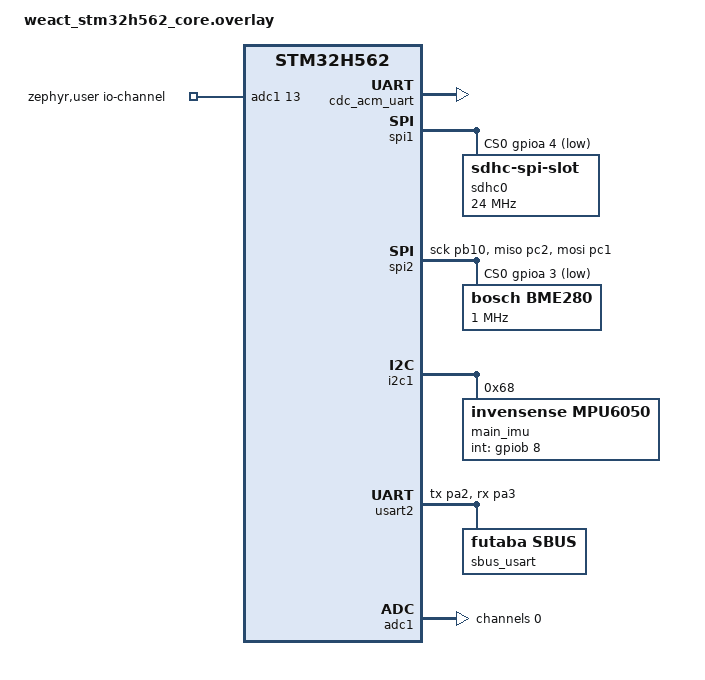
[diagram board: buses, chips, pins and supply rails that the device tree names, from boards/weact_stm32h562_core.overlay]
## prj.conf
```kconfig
# 
# This file is part of the efc project <https://github.com/eurus-project/efc/>.
# Copyright (c) 2024 The efc developers.
# 
# This program is free software: you can redistribute it and/or modify
# it under the terms of the GNU General Public License as published by
# the Free Software Foundation, version 3.
# 
# This program is distributed in the hope that it will be useful, but
# WITHOUT ANY WARRANTY; without even the implied warranty of
# MERCHANTABILITY or FITNESS FOR A PARTICULAR PURPOSE. See the GNU
# General Public License for more details.
# 
# You should have received a copy of the GNU General Public License
# along with this program. If not, see <http://www.gnu.org/licenses/>.
#

CONFIG_GPIO=y
CONFIG_SERIAL=y
CONFIG_CONSOLE=y
CONFIG_USB_DEVICE_STACK=y
CONFIG_ADC=y
CONFIG_DEBUG=y
CONFIG_STM32_FLASH_PREFETCH=y
CONFIG_FPU=y
CONFIG_MAIN_STACK_SIZE=8192
CONFIG_LOG=y
CONFIG_DEBUG_COREDUMP=y
CONFIG_DEBUG_COREDUMP_BACKEND_LOGGING=y
CONFIG_CBPRINTF_FP_SUPPORT=y
CONFIG_INPUT=y
```

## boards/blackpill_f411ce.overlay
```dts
/*
 * This file is part of the efc project <https://github.com/eurus-project/efc/>.
 * Copyright (c) 2024 The efc developers.
 *
 * This program is free software: you can redistribute it and/or modify
 * it under the terms of the GNU General Public License as published by
 * the Free Software Foundation, version 3.
 *
 * This program is distributed in the hope that it will be useful, but
 * WITHOUT ANY WARRANTY; without even the implied warranty of
 * MERCHANTABILITY or FITNESS FOR A PARTICULAR PURPOSE. See the GNU
 * General Public License for more details.
 *
 * You should have received a copy of the GNU General Public License
 * along with this program. If not, see <http://www.gnu.org/licenses/>.
 */

/ {
	chosen {
		zephyr,console = &cdc_acm_uart;
		telemetry,ground = &usart1;
		futaba,sbus = &sbus_usart;
	};
};

&zephyr_udc0 {
	cdc_acm_uart: cdc_acm_uart0 {
		compatible = "zephyr,cdc-acm-uart";
	};
};

&spi1 {
    cs-gpios = <&gpioa 4 GPIO_ACTIVE_LOW>;

	sdhc0: sdhc@0 {
                compatible = "zephyr,sdhc-spi-slot";
                reg = <0>;
                status = "okay";
                mmc {
                    compatible = "zephyr,sdmmc-disk";
                    disk-name = "SD";
                    status = "okay";
                };
                spi-max-frequency = <24000000>;
        };
};

&spi2 {
    status = "okay";
    pinctrl-0 = <&spi2_sck_pb13 &spi2_miso_pb14 &spi2_mosi_pb15>;
    pinctrl-names = "default";
    cs-gpios = <&gpiob 12 (GPIO_ACTIVE_LOW | GPIO_PULL_UP)>;

    bme280@0 {
        compatible = "bosch,bme280";
        reg = <0>;
        spi-max-frequency = <1000000>;
    };
};

&i2c1 {
	main_imu: mpu6050@68 {
		compatible = "invensense,mpu6050";
		reg = <0x68>;
		status = "okay";
		int-gpios = <&gpiob 7 GPIO_ACTIVE_HIGH>;
	};
};

&usart2 {
    pinctrl-0 = <&usart2_tx_pa2 &usart2_rx_pa3>;
	pinctrl-names = "default";
	status = "okay";

    sbus_usart: sbus {
        compatible = "futaba,sbus";
        right_stick_x {
            channel = <1>;
            type = <INPUT_EV_ABS>;
            zephyr,code = <INPUT_ABS_RX>;
        };
        right_stick_y {
            channel = <2>;
            type = <INPUT_EV_ABS>;
            zephyr,code = <INPUT_ABS_RY>;
        };
        left_stick_x {
            channel = <3>;
            type = <INPUT_EV_ABS>;
            zephyr,code = <INPUT_ABS_THROTTLE>;
        };
        left_stick_y {
            channel = <4>;
            type = <INPUT_EV_ABS>;
            zephyr,code = <INPUT_ABS_RZ>;
        };
    };
};
```

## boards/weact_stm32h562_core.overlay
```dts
/*
 * This file is part of the efc project <https://github.com/eurus-project/efc/>.
 * Copyright (c) 2024 The efc developers.
 *
 * This program is free software: you can redistribute it and/or modify
 * it under the terms of the GNU General Public License as published by
 * the Free Software Foundation, version 3.
 *
 * This program is distributed in the hope that it will be useful, but
 * WITHOUT ANY WARRANTY; without even the implied warranty of
 * MERCHANTABILITY or FITNESS FOR A PARTICULAR PURPOSE. See the GNU
 * General Public License for more details.
 *
 * You should have received a copy of the GNU General Public License
 * along with this program. If not, see <http://www.gnu.org/licenses/>.
 */

/ {
	chosen {
		zephyr,console = &cdc_acm_uart;
		telemetry,ground = &usart1;
        futaba,sbus = &sbus_usart;
	};

	aliases {
		adc0 = &adc1;
	};

    zephyr,user {
        io-channels = <&adc1 13>;
    };
};

&zephyr_udc0 {
	cdc_acm_uart: cdc_acm_uart0 {
		compatible = "zephyr,cdc-acm-uart";
	};
};

&spi1 {
    cs-gpios = <&gpioa 4 GPIO_ACTIVE_LOW>;

	sdhc0: sdhc@0 {
                compatible = "zephyr,sdhc-spi-slot";
                reg = <0>;
                status = "okay";
                mmc {
                    compatible = "zephyr,sdmmc-disk";
                    disk-name = "SD";
                    status = "okay";
                };
                spi-max-frequency = <24000000>;
        };
};

&spi2 {
    status = "okay";
    pinctrl-0 = <&spi2_sck_pb10 &spi2_miso_pc2 &spi2_mosi_pc1>;
    pinctrl-names = "default";
    cs-gpios = <&gpioa 3 (GPIO_ACTIVE_LOW | GPIO_PULL_UP)>;

    bme280@0 {
        compatible = "bosch,bme280";
        reg = <0>;
        spi-max-frequency = <1000000>;
    };
};

&i2c1 {
	main_imu: mpu6050@68 {
		compatible = "invensense,mpu6050";
		reg = <0x68>;
		status = "okay";
		int-gpios = <&gpiob 8 GPIO_ACTIVE_HIGH>;
	};
};

&usart2 {
    pinctrl-0 = <&usart2_tx_pa2 &usart2_rx_pa3>;
	pinctrl-names = "default";
	status = "okay";

    sbus_usart: sbus {
        compatible = "futaba,sbus";
        right_stick_x {
            channel = <1>;
            type = <INPUT_EV_ABS>;
            zephyr,code = <INPUT_ABS_RX>;
        };
        right_stick_y {
            channel = <2>;
            type = <INPUT_EV_ABS>;
            zephyr,code = <INPUT_ABS_RY>;
        };
        left_stick_x {
            channel = <3>;
            type = <INPUT_EV_ABS>;
            zephyr,code = <INPUT_ABS_THROTTLE>;
        };
        left_stick_y {
            channel = <4>;
            type = <INPUT_EV_ABS>;
            zephyr,code = <INPUT_ABS_RZ>;
        };
    };
};

&adc1 {
    compatible = "st,stm32-adc";
	clocks = <&rcc STM32_CLOCK(AHB2, 10U)>, <&rcc STM32_SRC_HSI ADCDAC_SEL(4)>;
	st,adc-clock-source = "ASYNC";
	st,adc-prescaler = <1>;
    status = "okay";
    
	#address-cells = <1>;
	#size-cells = <0>;

    channel@13 {
        pinctrl-0 = <&adc1_inp13_pc3>;
        reg = <0>;
		zephyr,gain = "ADC_GAIN_1";
		zephyr,reference = "ADC_REF_INTERNAL";
		zephyr,acquisition-time = <ADC_ACQ_TIME_DEFAULT>;
		zephyr,resolution = <12>;
    };
};
```

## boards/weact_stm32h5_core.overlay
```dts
/*
 * This file is part of the efc project <https://github.com/eurus-project/efc/>.
 * Copyright (c) 2024 The efc developers.
 *
 * This program is free software: you can redistribute it and/or modify
 * it under the terms of the GNU General Public License as published by
 * the Free Software Foundation, version 3.
 *
 * This program is distributed in the hope that it will be useful, but
 * WITHOUT ANY WARRANTY; without even the implied warranty of
 * MERCHANTABILITY or FITNESS FOR A PARTICULAR PURPOSE. See the GNU
 * General Public License for more details.
 *
 * You should have received a copy of the GNU General Public License
 * along with this program. If not, see <http://www.gnu.org/licenses/>.
 */

/ {
	chosen {
		zephyr,console = &cdc_acm_uart;
	};

    zephyr,user {
        io-channels = <&adc1 13>;
    };
};

&pll {
	div-q = <6>;
};

&zephyr_udc0 {
	cdc_acm_uart: cdc_acm_uart0 {
		compatible = "zephyr,cdc-acm-uart";
	};
};

&adc1 {
    compatible = "st,stm32-adc";
	st,adc-clock-source = "SYNC";
	st,adc-prescaler = <4>;
    status = "okay";
    
	#address-cells = <1>;
	#size-cells = <0>;

    channel@13 {
        reg = <13>;
		zephyr,gain = "ADC_GAIN_1";
		zephyr,reference = "ADC_REF_INTERNAL";
		zephyr,acquisition-time = <ADC_ACQ_TIME_DEFAULT>;
		zephyr,resolution = <12>;
    };
};

&clk_hsi48 {
    status = "okay";
};
```

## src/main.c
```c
#include <zephyr/device.h>
#include <zephyr/drivers/adc.h>
#include <zephyr/kernel.h>
#include <zephyr/sys/printk.h>
#include <zephyr/usb/usb_device.h>
#include <zephyr/usb/usbd.h>

LOG_MODULE_REGISTER(main, LOG_LEVEL_INF);

static const struct adc_dt_spec adc_channel =
    ADC_DT_SPEC_GET(DT_PATH(zephyr_user));

#if defined(CONFIG_USB_DEVICE_STACK_NEXT)
static struct usbd_context *sample_usbd;

static int enable_usb_device_next(void) {
    int err;

    sample_usbd = sample_usbd_init_device(NULL);
    if (sample_usbd == NULL) {
        return -ENODEV;
    }

    err = usbd_enable(sample_usbd);
    if (err) {
        return err;
    }

    return 0;
}
#endif /* defined(CONFIG_USB_DEVICE_STACK_NEXT) */

int main(void) {
    int err;
    int32_t buf = 0;
    int32_t value_mV;
    uint16_t sample;

    if (DT_NODE_HAS_COMPAT(DT_CHOSEN(zephyr_console), zephyr_cdc_acm_uart)) {
#if defined(CONFIG_USB_DEVICE_STACK_NEXT)
        if (enable_usb_device_next()) {
            return 0;
        }
#else
        if (usb_enable(NULL)) {
            return 0;
        }
#endif
    }

    if (!adc_is_ready_dt(&adc_channel)) {
        printk("ADC device not ready\n");
        return 0;
    }

    err = adc_channel_setup_dt(&adc_channel);
    if (err < 0) {
        printk("Could not setup channel!\n");
        return 0;
    }

    struct adc_sequence sequence = {
        .buffer = &buf,
        // buffer size in bytes, not number of samples
        .buffer_size = 2,
        // Optional
        .calibrate = true,
    };

    err = adc_sequence_init_dt(&adc_channel, &sequence);
    if (err < 0) {
        printk("Could not initalize sequnce");
        return 0;
    }

    while (1) {
        err = adc_read(adc_channel.dev, &sequence);
        if (err < 0) {
            printk("Could not read (%d)", err);
            continue;
        } else {
            printk("Raw ADC value: %d", buf);
            err = adc_raw_to_millivolts_dt(&adc_channel, &buf);
            printk("Value in millivolts: %d", buf);
        }

        k_msleep(500);
    }

    return 0;
}
```
